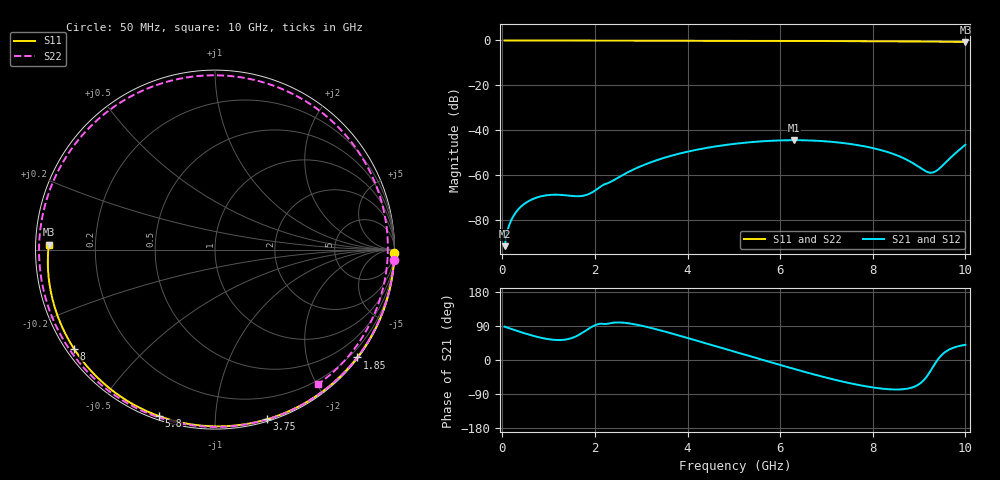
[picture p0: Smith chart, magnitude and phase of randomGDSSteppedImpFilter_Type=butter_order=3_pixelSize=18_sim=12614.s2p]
! freq	dB(S11)	phase(S11)	dB(S12)	phase(S12)
!  dB(S21)	phase(S21)	dB(S22)	phase(S22)
!S-par simulation data
#  GHz  S  DB  R 50
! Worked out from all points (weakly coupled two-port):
!   200 points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, 50 MHz to 10 GHz, reference 50 ohm
!   highest |S21| = -44.53 dB at 6.3 GHz (marker M1); lowest = -91.8 dB at 50 MHz (marker M2)
!   lowest |S11| = -0.7 dB at 10 GHz (marker M3), VSWR 26.06, Z = 1.92 + j0.766 ohm
!   |S11| at or under -10 dB: nowhere
!   |S22| runs from -0.5 to 0.0 dB; largest |S21 - S12| = 0
!   S11 on the Smith chart (normalised r, x): 50 MHz: open; 1.85 GHz: 0.03, -2.97; 3.75 GHz: 0.02, -1.35; 5.8 GHz: 0.02, -0.72; 8 GHz: 0.02, -0.32; 10 GHz: 0.04, +0.02
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0.05  -0.00 -1.0  -91.83 87.9  -91.83 87.9  -0.00 -3.2
0.2  -0.01 -4.1  -79.90 81.7  -79.90 81.7  -0.02 -12.9
0.35  -0.01 -7.1  -75.29 75.6  -75.29 75.6  -0.03 -22.4
0.55  -0.02 -11.2  -71.94 67.9  -71.94 67.9  -0.05 -34.8
0.95  -0.02 -19.3  -69.13 55.9  -69.13 55.9  -0.07 -59.0
1.35  -0.03 -27.3  -69.08 53.6  -69.08 53.6  -0.10 -81.5
1.75  -0.04 -35.2  -69.31 73.4  -69.31 73.4  -0.11 -102.3
1.85  -0.05 -37.2  -68.70 81.3  -68.70 81.3  -0.12 -107.2
2.65  -0.07 -52.6  -59.48 98.1  -59.48 98.1  -0.14 -143.6
3.4  -0.09 -66.6  -53.00 78.6  -53.00 78.6  -0.17 -173.9
3.75  -0.10 -73.0  -50.90 66.8  -50.90 66.8  -0.18 172.8
4.35  -0.12 -83.7  -48.19 45.6  -48.19 45.6  -0.20 150.5
5.05  -0.15 -95.8  -46.06 20.6  -46.06 20.6  -0.22 124.9
5.8  -0.18 -108.5  -44.79 -6.1  -44.79 -6.1  -0.25 97.4
6.3  -0.21 -116.8  -44.53 -23.6  -44.53 -23.6  -0.26 78.9
6.7  -0.24 -123.4  -44.69 -37.1  -44.69 -37.1  -0.27 64.1
7.4  -0.30 -134.9  -45.89 -58.4  -45.89 -58.4  -0.29 38.2
8  -0.35 -144.9  -48.04 -72.4  -48.04 -72.4  -0.31 16.3
8.35  -0.39 -150.8  -50.01 -77.2  -50.01 -77.2  -0.32 3.7
9.25  -0.51 -166.7  -59.05 -28.3  -59.05 -28.3  -0.39 -27.5
9.4  -0.53 -169.5  -57.82 0.4  -57.82 0.4  -0.41 -32.5
10  -0.67 178.2  -46.54 40.2  -46.54 40.2  -0.50 -52.4
